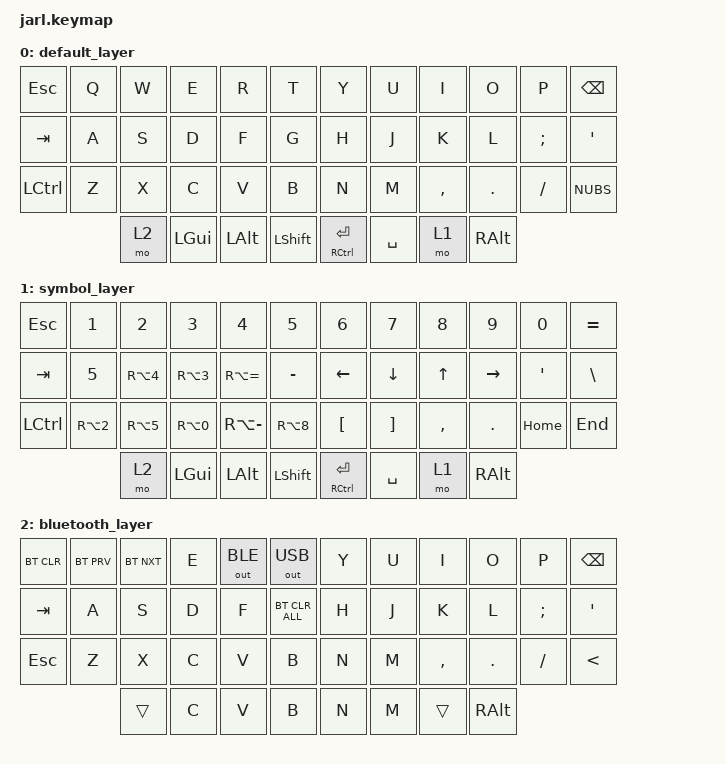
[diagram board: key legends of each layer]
#include <behaviors.dtsi>
#include <dt-bindings/zmk/keys.h>
#include <dt-bindings/zmk/bt.h>
#include <dt-bindings/zmk/outputs.h>

/ {
	keymap {
		compatible = "zmk,keymap";

		default_layer {
			bindings = <
		&kp ESC      &kp Q     &kp W      &kp E     &kp R        &kp T          &kp Y          &kp U      &kp I        &kp O     &kp P      &kp BSPC     
		&kp TAB      &kp A     &kp S      &kp D     &kp F        &kp G          &kp H          &kp J      &kp K        &kp L     &kp SEMI   &kp SQT     
		&kp LCTRL    &kp Z     &kp X      &kp C     &kp V        &kp B          &kp N          &kp M      &kp COMMA    &kp DOT   &kp FSLH   &kp NUBS    
		                       &mo 2      &kp LGUI   &kp LALT     &kp LSHIFT     &mt RCTRL RET  &kp SPACE      &mo 1    &kp RALT       
			>;

		};

		symbol_layer {
			bindings = <
		&kp ESC      &kp N1     &kp N2      &kp N3     &kp N4        &kp N5          &kp N6          &kp N7      &kp N8        &kp N9     &kp N0      &kp EQUAL     
		&kp TAB      &kp N5     &kp RA(N4)      &kp RA(N3)     &kp RA(EQUAL)        &kp MINUS          &kp LEFT          &kp DOWN      &kp UP        &kp RIGHT     &kp SQT   &kp BSLH     
		&kp LCTRL    &kp RA(N2)     &kp RA(N5)      &kp RA(N0)     &kp RA(MINUS)        &kp RA(N8)          &kp LBKT          &kp RBKT      &kp COMMA    &kp DOT   &kp HOME   &kp END     
		                       &mo 2      &kp LGUI   &kp LALT     &kp LSHIFT     &mt RCTRL RET  &kp SPACE      &mo 1    &kp RALT       
			>;

		};
		bluetooth_layer {
			bindings = <
		&bt BT_CLR   &bt BT_PRV &bt BT_NXT &kp E  &out OUT_BLE &out OUT_USB       &kp Y      &kp U      &kp I        &kp O     &kp P      &kp BSPC     
		&kp TAB      &kp A        &kp S        &kp D  &kp F    &bt BT_CLR_ALL     &kp H      &kp J      &kp K        &kp L     &kp SEMI   &kp SQT     
		&kp ESC      &kp Z        &kp X        &kp C  &kp V        &kp B          &kp N      &kp M      &kp COMMA    &kp DOT   &kp FSLH   &kp LT    
		                          &trans        &kp C  &kp V        &kp B          &kp N      &kp M      &trans    &kp RALT       
			>;

		};
	};
};
